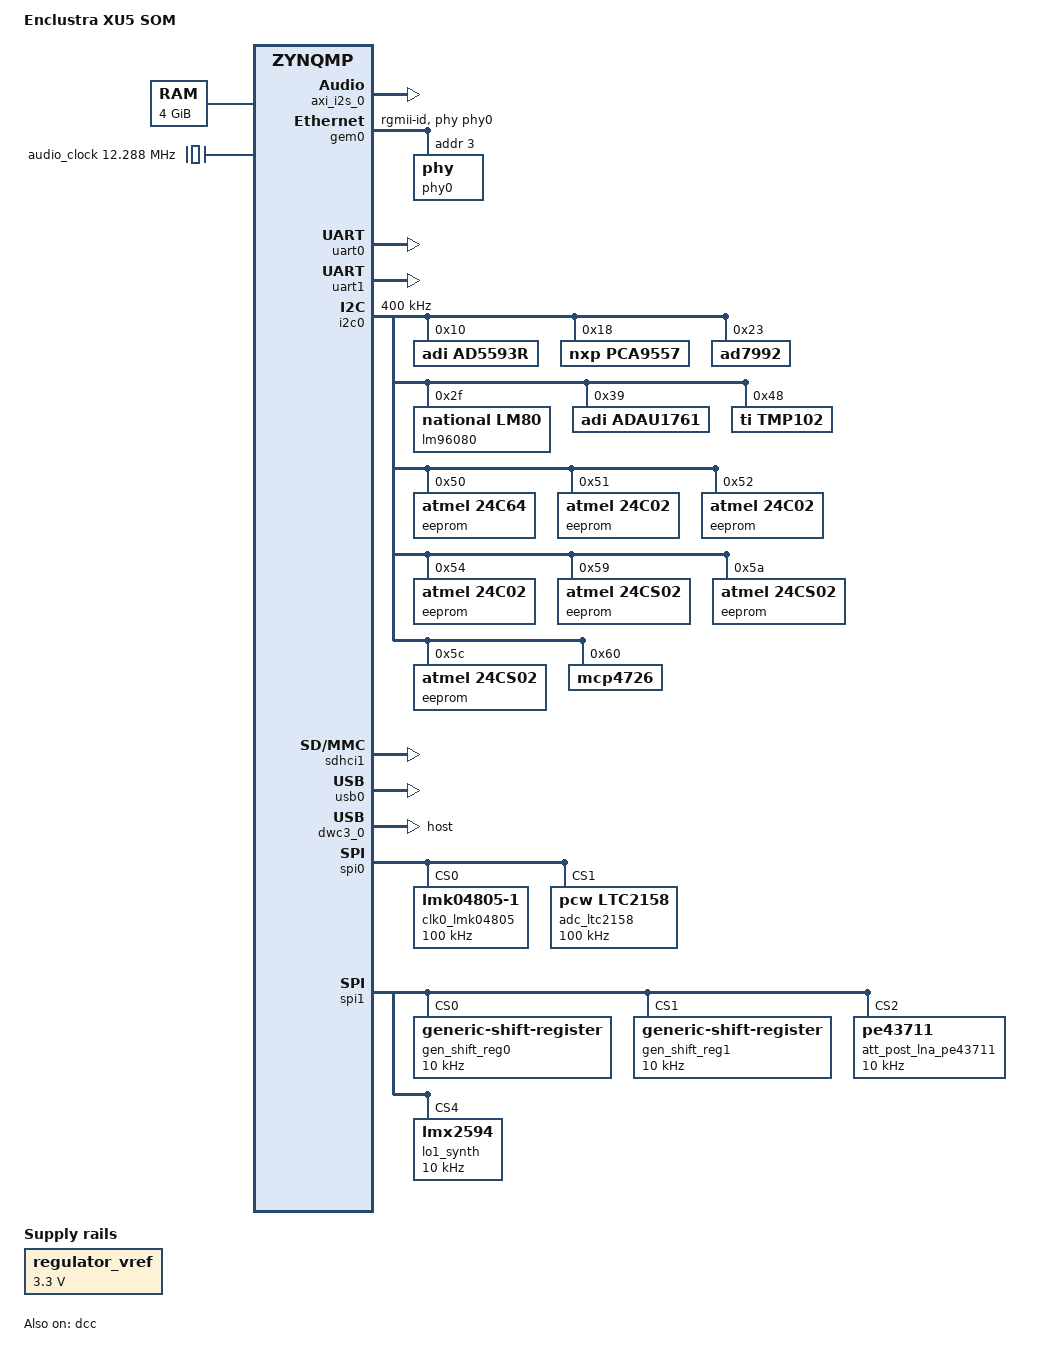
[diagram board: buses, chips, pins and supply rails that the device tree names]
/dts-v1/;

#include "zynqmp.dtsi"
#include "zynqmp-clk-ccf.dtsi"
#include "zynqmp_enclustra_common.dtsi"
#include "zynqmp_enclustra_mercury_xu5.dtsi"
#include "zynq-enclustra-qspi64-parts.dtsi"
#include <dt-bindings/interrupt-controller/irq.h>

/*
 * pg201-zynq-ultrascale-plus-processing-system.pdf (PG201 January 6, 2020), Table 2-1
 * * * * * * * * * * *
 * IRQ PL->PS
 * * * * * * * * * * *
 * 121  pl_ps_irq0[0]
 * 122  pl_ps_irq0[1]
 * 123  pl_ps_irq0[2]
 * 124  pl_ps_irq0[3]
 * 125  pl_ps_irq0[4]
 * 126  pl_ps_irq0[5]
 * 127  pl_ps_irq0[6]
 * 128  pl_ps_irq0[7]
 * * * * * * * * * * *
 * IRQ PS->PL
 * * * * * * * * * * *
 * 137  pl_ps_irq1[0]
 * 138  pl_ps_irq1[1]
 * 139  pl_ps_irq1[2]
 * 140  pl_ps_irq1[3]
 * 141  pl_ps_irq1[4]
 * 142  pl_ps_irq1[5]
 * 143  pl_ps_irq1[6]
 * 144  pl_ps_irq1[7]
 * * * * * * * * * * *
 * The IRQ Number in the devicetree
 * is determined as follows:
 * for pl_ps_irq_0: IRQ_devicetree = IRQ - 32
 * for pl_ps_irq_1: IRQ_devicetree = IRQ - 33
 */

#define USE_GEM0	1
#define USE_GEM1	0
#define ENCLUSTRA	0
#define SPI_ENABLED	1
#define SPI_PINCTRL	0


/ {
	model = "Enclustra XU5 SOM";
	compatible = "xlnx,zynqmp";

	aliases {
#if USE_GEM0
		ethernet0 = &gem0;
#endif
#if USE_GEM1
		ethernet1 = &gem1;
#endif
		gpio0 = &gpio;
		i2c0 = &i2c0;
		mmc0 = &sdhci1;
		mmc1 = &sdhci0;
		rtc0 = &rtc;
		serial0 = &uart0;
		serial1 = &uart1;
		serial2 = &dcc;
#if 0
		spi0 = &spi0;
		spi1 = &spi1;
#else
		spi1 = &spi0;
		spi2 = &spi1;
		spi0 = &qspi;
#endif
		usb0 = &usb0;
		//usb1 = &usb1;
	};

	chosen {
		bootargs = "console=ttyPS0,115200n8 earlycon clk_ignore_unused cpuidle.off=1";
		stdout-path = "serial0:115200n8";
	};

	memory {
		device_type = "memory";
		//reg = <0x0 0x0 0x0 0x80000000>;
		reg = <0x0 0x0 0x0 0x80000000>, <0x8 0x00000000 0x0 0x80000000>;
	};

#if USE_GEM0
#if ENCLUSTRA
	mdio0 {
		compatible = "cdns,macb-mdio";
		reg = <0x0 0xff0b0000 0x0 0x1000>;
		clocks =  <&zynqmp_clk 45>, <&zynqmp_clk 45>, <&zynqmp_clk 49>;
		clock-names = "pclk", "tx_clk", "hclk";
		#address-cells = <1>;
		#size-cells = <0>;
		phy0: ethernet-phy@3 {
			reg = <3>;
			txc-skew-ps = <1800>;
			txen-skew-ps = <420>;
			txd0-skew-ps = <420>;
			txd1-skew-ps = <420>;
			txd2-skew-ps = <420>;
			txd3-skew-ps = <420>;
			rxc-skew-ps = <900>;
			rxdv-skew-ps = <420>;
			rxd0-skew-ps = <420>;
			rxd1-skew-ps = <420>;
			rxd2-skew-ps = <420>;
			rxd3-skew-ps = <420>;
		};
	};
#endif
#endif

#if USE_GEM1
	mdio1 {
		compatible = "cdns,macb-mdio";
		reg = <0x0 0xff0c0000 0x0 0x1000>;
		clocks =  <&zynqmp_clk 45>, <&zynqmp_clk 45>, <&zynqmp_clk 49>;
		clock-names = "pclk", "tx_clk", "hclk";
		#address-cells = <1>;
		#size-cells = <0>;
		phy1: ethernet-phy@3 {
			reg = <3>;
			txc-skew-ps = <1800>;
			txen-skew-ps = <420>;
			txd0-skew-ps = <420>;
			txd1-skew-ps = <420>;
			txd2-skew-ps = <420>;
			txd3-skew-ps = <420>;
			rxc-skew-ps = <1860>;
			rxdv-skew-ps = <420>;
			rxd0-skew-ps = <0>;
			rxd1-skew-ps = <0>;
			rxd2-skew-ps = <0>;
			rxd3-skew-ps = <0>;
		};
	};
#endif

	regulator_vref: fixedregulator@0 {
		compatible = "regulator-fixed";
		regulator-name = "VREF";
		regulator-min-microvolt = <3300000>;
		regulator-max-microvolt = <3300000>;
		regulator-boot-on;
		regulator-always-on;
	};


	audio_clock: audio_clock {
		compatible = "fixed-clock";
		#clock-cells = <0>;
		clock-frequency = <12288000>;
	};

	zed_sound {
		compatible = "simple-audio-card";
		simple-audio-card,name = "ZED ADAU1761";
		simple-audio-card,widgets =
			"Microphone", "Mic In",
			"Headphone", "Headphone Out",
			"Line", "Line In",
			"Line", "Line Out";
		simple-audio-card,routing =
			"Line Out", "LOUT",
			"Line Out", "ROUT",
			"Headphone Out", "LHP",
			"Headphone Out", "RHP",
			"Mic In", "MICBIAS",
			"LINN", "Mic In",
			"RINN", "Mic In",
			"LAUX", "Line In",
			"RAUX", "Line In";

		simple-audio-card,dai-link@0 {
			format = "i2s";
			cpu {
				sound-dai = <&axi_i2s_0>;
				frame-master;
				bitclock-master;
			};
			codec {
				sound-dai = <&adau1761>;
			};
		};
	};
};

&dcc {
	status = "okay";
};

#if USE_GEM0
#if ENCLUSTRA
&gem0 {
	status = "okay";
	local-mac-address = [00 0a 35 00 02 90];
	phy = <&phy0>;
	phy-mode = "rgmii-id";
	phy-handle = <&phy0>;
};
#else
&gem0 {
	status = "okay";
	phy-handle = <&phy0>;
	phy-mode = "rgmii-id";
	phy0: phy@3 {
		reg = <3>;
		txc-skew-ps = <1800>;
		txen-skew-ps = <420>;
		txd0-skew-ps = <420>;
		txd1-skew-ps = <420>;
		txd2-skew-ps = <420>;
		txd3-skew-ps = <420>;
		rxc-skew-ps = <900>;
		rxdv-skew-ps = <420>;
		rxd0-skew-ps = <420>;
		rxd1-skew-ps = <420>;
		rxd2-skew-ps = <420>;
		rxd3-skew-ps = <420>;
	};
};
#endif
#endif

#if USE_GEM1
&gem1 {
	status = "okay";
	local-mac-address = [00 0a 35 00 02 91];
	phy = <&phy1>;
	phy-mode = "gmii-id";
	phy-handle = <&phy1>;
};
#endif

/ {
	fpga_axi: fpga-axi@0 {
		interrupt-parent = <&gic>;
		compatible = "simple-bus";
		#address-cells = <0x1>;
		#size-cells = <0x1>;
		ranges = <0 0 0 0xffffffff>;

		i2s_tx_dma: i2s-tx-dmac@9c510000 {
			compatible = "adi,axi-dmac-1.00.a";
			reg = <0x9c510000 0x10000>;
			#dma-cells = <1>;
			#clock-cells = <0>;
			interrupts = <0 89 IRQ_TYPE_LEVEL_HIGH>; // pl_ps_irq0[0] = 121  ->  121-32 = 89
			clocks = <&zynqmp_clk 71>;

			adi,channels {
				#size-cells = <0>;
				#address-cells = <1>;

				dma-channel@0 {
					reg = <0>;
					adi,source-bus-width = <64>;
					adi,source-bus-type = <0>;
					adi,destination-bus-width = <32>;
					adi,destination-bus-type = <1>;
				};
			};
		};

		i2s_rx_dma: i2s-rx-dmac@9c500000 {
			compatible = "adi,axi-dmac-1.00.a";
			reg = <0x9c500000 0x10000>;
			#dma-cells = <1>;
			#clock-cells = <0>;
			interrupts = <0 90 IRQ_TYPE_LEVEL_HIGH>; // pl_ps_irq0[1] = 122  ->  122-32 = 90
			clocks = <&zynqmp_clk 71>;

			adi,channels {
				#size-cells = <0>;
				#address-cells = <1>;

				dma-channel@0 {
					reg = <0>;
					adi,source-bus-width = <32>;
					adi,source-bus-type = <1>;
					adi,destination-bus-width = <64>;
					adi,destination-bus-type = <0>;
				};
			};
		};

		axi_i2s_0: axi-i2s@0x97600000 {
			compatible = "adi,axi-i2s-1.00.a";
			reg = <0x97600000 0x10000>;
			dmas = <&i2s_tx_dma 0 &i2s_rx_dma 0>;
			dma-names = "tx", "rx";
			clocks = <&zynqmp_clk 71>, <&audio_clock>;
			clock-names = "axi", "ref";

			#sound-dai-cells = <0>;
		};

		rx0_dma: rx0-dma@9c400000 {
			compatible = "adi,axi-dmac-1.00.a";
			reg = <0x9c400000 0x10000>;
			#dma-cells = <1>;
			#clock-cells = <0>;
			interrupts = <0 91 IRQ_TYPE_LEVEL_HIGH>; // pl_ps_irq0[2] = 123  ->  123-32 = 91
			clocks = <&zynqmp_clk 71>;

			adi,channels {
				#address-cells = <1>;
				#size-cells = <0>;

				dma-channel@0 {
					reg = <0>;
					adi,source-bus-width = <32>;
					adi,source-bus-type = <2>;
					adi,destination-bus-width = <64>;
					adi,destination-bus-type = <0>;
				};
			};
		};

		rx1_dma: rx1-dma@9c410000 {
			compatible = "adi,axi-dmac-1.00.a";
			reg = <0x9c410000 0x10000>;
			#dma-cells = <1>;
			#clock-cells = <0>;
			interrupts = <0 92 IRQ_TYPE_LEVEL_HIGH>; // pl_ps_irq0[2] = 123  ->  123-32 = 92
			clocks = <&zynqmp_clk 71>;

			adi,channels {
				#address-cells = <1>;
				#size-cells = <0>;

				dma-channel@0 {
					reg = <0>;
					adi,source-bus-width = <32>;
					adi,source-bus-type = <2>;
					adi,destination-bus-width = <64>;
					adi,destination-bus-type = <0>;
				};
			};
		};

		rx2_dma: rx2-dma@9c420000 {
			compatible = "adi,axi-dmac-1.00.a";
			reg = <0x9c420000 0x10000>;
			#dma-cells = <1>;
			#clock-cells = <0>;
			interrupts = <0 93 IRQ_TYPE_LEVEL_HIGH>; // pl_ps_irq0[2] = 123  ->  123-32 = 93
			clocks = <&zynqmp_clk 71>;

			adi,channels {
				#address-cells = <1>;
				#size-cells = <0>;

				dma-channel@0 {
					reg = <0>;
					adi,source-bus-width = <32>;
					adi,source-bus-type = <2>;
					adi,destination-bus-width = <64>;
					adi,destination-bus-type = <0>;
				};
			};
		};

		rx3_dma: rx3-dma@9c430000 {
			compatible = "adi,axi-dmac-1.00.a";
			reg = <0x9c430000 0x10000>;
			#dma-cells = <1>;
			#clock-cells = <0>;
			interrupts = <0 94 IRQ_TYPE_LEVEL_HIGH>; // pl_ps_irq0[2] = 123  ->  123-32 = 94
			clocks = <&zynqmp_clk 71>;

			adi,channels {
				#address-cells = <1>;
				#size-cells = <0>;

				dma-channel@0 {
					reg = <0>;
					adi,source-bus-width = <32>;
					adi,source-bus-type = <2>;
					adi,destination-bus-width = <64>;
					adi,destination-bus-type = <0>;
				};
			};
		};

		cf_ltc2158_core_0: cf-ddc0-dma@99020000 {
			compatible = "pcw,axi-ltc2158";
			reg = <0x99020000 0x10000>;
			dmas = <&rx0_dma 0>;
			dma-names = "rx";
			spibus-connected = <&adc_ltc2158>;
			xlnx,dphase-timeout = <0x8>;
			xlnx,num-mem = <0x1>;
			xlnx,num-reg = <0x1>;
			xlnx,s-axi-min-size = <0x1ff>;
			xlnx,slv-awidth = <0x20>;
			xlnx,slv-dwidth = <0x20>;
			xlnx,use-wstrb = <0x0>;
		};

		cf_ltc2158_core_1: cf-ddc1-dma@99020000 {
			compatible = "pcw,axi-ltc2158-dummy";
			reg = <0x99020000 0x10000>;
			dmas = <&rx1_dma 0>;
			dma-names = "rx";
			spibus-connected = <&adc_ltc2158>;
			xlnx,dphase-timeout = <0x8>;
			xlnx,num-mem = <0x1>;
			xlnx,num-reg = <0x1>;
			xlnx,s-axi-min-size = <0x1ff>;
			xlnx,slv-awidth = <0x20>;
			xlnx,slv-dwidth = <0x20>;
			xlnx,use-wstrb = <0x0>;
		};

		cf_ltc2158_core_2: cf-ddc2-dma@99020000 {
			compatible = "pcw,axi-ltc2158-dummy";
			reg = <0x99020000 0x10000>;
			dmas = <&rx2_dma 0>;
			dma-names = "rx";
			spibus-connected = <&adc_ltc2158>;
			xlnx,dphase-timeout = <0x8>;
			xlnx,num-mem = <0x1>;
			xlnx,num-reg = <0x1>;
			xlnx,s-axi-min-size = <0x1ff>;
			xlnx,slv-awidth = <0x20>;
			xlnx,slv-dwidth = <0x20>;
			xlnx,use-wstrb = <0x0>;
		};

		cf_ltc2158_core_3: cf-ddc3-dma@99020000 {
			compatible = "pcw,axi-ltc2158-dummy";
			reg = <0x99020000 0x10000>;
			dmas = <&rx3_dma 0>;
			dma-names = "rx";
			spibus-connected = <&adc_ltc2158>;
			xlnx,dphase-timeout = <0x8>;
			xlnx,num-mem = <0x1>;
			xlnx,num-reg = <0x1>;
			xlnx,s-axi-min-size = <0x1ff>;
			xlnx,slv-awidth = <0x20>;
			xlnx,slv-dwidth = <0x20>;
			xlnx,use-wstrb = <0x0>;
		};

		vbi_br_dsp: vbi-br-dsp@93C00000 {
			compatible = "fpga,vbi-br-dsp";
			reg = <0x93C00000 0x10000>;
			required,fs-adc = <276480000>;
			required,nb-of-blocks = <4>;
		};

	};

};

&uart0 {
	status = "okay";
};

&uart1 {
	status = "okay";
};

&i2c0 {
	clock-frequency = <400000>;

	ad5593r@10 {
		#size-cells = <0>;
		#address-cells = <1>;
		#gpio-cells = <2>;
		compatible = "adi,ad5593r";
		reg = <0x10>;
		gpio-controller;

		/*
		 * CH_MODE_UNUSED             0
		 * CH_MODE_ADC                1
		 * CH_MODE_DAC                2
		 * CH_MODE_DAC_AND_ADC        3
		 * CH_MODE_GPIO               8
		 *
		 * CH_OFFSTATE_PULLDOWN       0
		 * CH_OFFSTATE_OUT_LOW        1
		 * CH_OFFSTATE_OUT_HIGH       2
		 * CH_OFFSTATE_OUT_TRISTATE   3
		 */
		channel@0 {
			reg = <0>;
			adi,mode = <0>;        // CH_MODE_UNUSED
			adi,off-state = <0>;   // CH_OFFSTATE_PULLDOWN
		};
		channel@1 {
			reg = <1>;
			adi,mode = <0>;        // CH_MODE_UNUSED
			adi,off-state = <0>;   // CH_OFFSTATE_PULLDOWN
		};
		channel@2 {
			reg = <2>;
			adi,mode = <0>;        // CH_MODE_UNUSED
			adi,off-state = <0>;   // CH_OFFSTATE_PULLDOWN
		};
		channel@3 {
			reg = <3>;
			adi,mode = <1>;        // CH_MODE_ADC
			adi,off-state = <0>;   // CH_OFFSTATE_PULLDOWN
		};
		channel@4 {
			reg = <4>;
			adi,mode = <1>;        // CH_MODE_ADC
			adi,off-state = <0>;   // CH_OFFSTATE_PULLDOWN
		};
		channel@5 {
			reg = <5>;
			adi,mode = <0>;        // CH_MODE_UNUSED
			adi,off-state = <0>;   // CH_OFFSTATE_PULLDOWN
		};
		channel@6 {
			reg = <6>;
			adi,mode = <0>;        // CH_MODE_UNUSED
			adi,off-state = <0>;   // CH_OFFSTATE_PULLDOWN
		};
		channel@7 {
			reg = <7>;
			adi,mode = <0>;        // CH_MODE_UNUSED
			adi,off-state = <0>;   // CH_OFFSTATE_PULLDOWN
		};
	};

	pca9557@18 {
		compatible = "nxp,pca9557";
		reg = <0x18>;
	};

	ad7992: ad799x@23 {
            compatible = "ad7992";
            reg = <0x23>;
            adi,reference-voltage-mv = <3300>;
       };

	lm96080@2f {
		compatible = "national,lm80";
		reg = <0x2f>;
	};

	adau1761: adau1761@39 {
		compatible = "adi,adau1761";
		reg = <0x39>;

		clocks = <&audio_clock>;
		clock-names = "mclk";

		#sound-dai-cells = <0>;
	};

	tmp102@48 {
		compatible = "ti,tmp102";
		reg = <0x48>;
	};

	eeprom@50 { 				// Baseboard EEPROM
		compatible = "atmel,24c64";
		reg = <0x50>;
		pagesize = <32>;
	};

	eeprom@51 { 				// RX Modules Sec. AT24MAC402 EEPROM
		compatible = "atmel,24c02";
		reg = <0x51>;
		pagesize = <16>;
	};

	eeprom@52 {				// TX Modules Sec.AT24MAC402 EEPROM
		compatible = "atmel,24c02";
		reg = <0x52>;
		pagesize = <16>;
	};

	eeprom@54 { 				// Baseboard Sec. AT24MAC402 EEPROM
		compatible = "atmel,24c02";
		reg = <0x54>;
		pagesize = <16>;
	};

	eeprom@59 { 				// RX Modules Sec.AT24MAC402 EEPROM Serial
		compatible = "atmel,24cs02"; //
		reg = <0x59>;
		pagesize = <1>;
		//read-only;
	};

	eeprom@5a {				// TX Modules Sec.AT24MAC402 EEPROM Serial
		compatible = "atmel,24cs02";
		reg = <0x5a>;
		pagesize = <1>;
		//read-only;
	};

	eeprom@5c { 				// Baseboard Sec. AT24MAC402 EEPROM Serial
		compatible = "atmel,24cs02";
		reg = <0x5c>;
		pagesize = <1>;
		//read-only;
	};

	mcp4726@60 {
		compatible = "mcp4726";
		reg = <0x60>;
		//vref-supply = <&regulator_vref>;
		//vref-mv = <3300>;
		vref-mode = <3>;
		vref-millivolt = <3300>;
	};
};

/* SD1 with level shifter */
&sdhci1 {
        status = "okay";
        no-1-8-v;       /* for 1.0 silicon */
        wp-inverted;
        xlnx,mio_bank = <1>;
};

/* ULPI SMSC USB3320 */
&usb0 {
	status = "okay";
};

&usb1 {
        status = "disabled";
};

&dwc3_0 {
        status = "okay";
        dr_mode = "host";
        snps,usb3_lpm_capable;
        maximum-speed = "high-speed";
};

&dwc3_1 {
        status = "disabled";
        dr_mode = "host";
        snps,usb3_lpm_capable;
        maximum-speed = "high-speed";
};

#if SPI_ENABLED
&spi0 {
	is-decoded-cs = <1>;
	num-cs = <8>;
	status = "okay";

#if SPI_PINCTRL
	pinctrl-names = "default";
	pinctrl-0 = <&pinctrl_spi0_default>;
#endif

	clk0_lmk04805: lmk04805@0 {
		#address-cells = <1>;
		#size-cells = <0>;
		#clock-cells = <1>;
		compatible = "lmk04805-1";
		reg = <0>;
		spi-max-frequency = <100000>;
		clock-output-names = "lmk04805-lpc_out0", "lmk04805-lpc_out1", "lmk04805-lpc_out2", "lmk04805-lpc_out3", "lmk04805-lpc_out4", "lmk04805-lpc_out5", "lmk04805-lpc_out6", "lmk04805-lpc_out7", "lmk04805-lpc_out8", "lmk04805-lpc_out9", "lmk04805-lpc_out10", "lmk04805-lpc_out11";
		lmk,vcxo-freq = <122880000>; // VCO = 2211.8MHz
		lmk,en-pll2-ref-2x;
		lmk,pll2-r = <2>;
		lmk,pll2-p = <2>;
		lmk,pll2-n = <9>;

		lmk04805_0_c0:channel@0 {
			reg = <0>;
			lmk,extended-name = "CLK_OUT";
			lmk,out-type = <4>; // 0: power down, 1: lvds, 2: LVPECL 700mV 3: LVPECL 1200mV, 4: LVPECL 1600mV, 5: LVPECL 2000mV, 6: LVCMOS (Norm/Inv), 7: Norm/Norm, 8: ...
			lmk,clock-divider = <56>;
			lmk,powerdown;
		};

		lmk04805_0_c1:channel@1 {
			reg = <1>;
			lmk,extended-name = "CLKout1";
			lmk,clock-divider = <56>;
			lmk,out-type = <0>;
			lmk,powerdown;
		};

		lmk04805_0_c2:channel@2 {
			reg = <2>;
			lmk,extended-name = "CLKout2";
			lmk,clock-divider = <2>;
			lmk,out-type = <0>;
			lmk,powerdown;
		};

		lmk04805_0_c3:channel@3 {
			reg = <3>;
			lmk,extended-name = "DAC_CLK"; // 1105.9MHz
			lmk,out-type = <4>;
			lmk,clock-divider = <2>;
			lmk,powerdown;
		};

		lmk04805_0_c4:channel@4 {
			reg = <4>;
			lmk,extended-name = "TX_CLK";
			lmk,out-type = <4>;
			lmk,clock-divider = <20>;
			lmk,powerdown;
		};

		lmk04805_0_c5:channel@5 {
			reg = <5>;
			lmk,extended-name = "CLKout5";
			lmk,clock-divider = <20>;
			lmk,out-type = <0>;
			lmk,powerdown;
		};

		lmk04805_0_c6:channel@6 {
			reg = <6>;
			lmk,extended-name = "FPGA_MGTCLK";
			lmk,out-type = <1>;
			lmk,clock-divider = <4>;
			lmk,powerdown;
		};

		lmk04805_0_c7:channel@7 {
			reg = <7>;
			lmk,extended-name = "DAC_DCO_CLK";
			lmk,out-type = <1>;
			lmk,clock-divider = <4>;
			lmk,powerdown;
		};

		lmk04805_0_c8:channel@8 {
			reg = <8>;
			lmk,extended-name = "RX_CLK"; // LMX Clk =  1105.92MHz
			lmk,out-type = <4>; // LVPECL 1.6Vpp, 150ohm zu GND müssen auf dem Baseboard rein!
			lmk,clock-divider = <2>;
		};

		lmk04805_0_c9:channel@9 {
			reg = <9>;
			lmk,extended-name = "CLKout9";
			lmk,clock-divider = <2>;
			lmk,out-type = <0>;
			lmk,powerdown;
		};

		lmk04805_0_c10:channel@10 {
			reg = <10>;
			lmk,extended-name = "CLKout10";
			lmk,clock-divider = <8>;
			lmk,out-type = <0>;
			lmk,powerdown;
		};

		lmk04805_0_c11:channel@11 {
			reg = <11>;
			lmk,extended-name = "ADC_CLK"; // 276.48MHz
			lmk,out-type = <4>;
			lmk,clock-divider = <8>;
		};
	};

	adc_ltc2158: adc-ltc2158@1 {
		#address-cells = <1>;
		#size-cells = <0>;
		compatible = "pcw,ltc2158";
		reg = <1>;
		spi-max-frequency = <100000>;
//		spi-3wire;
		clock_inverted;
		//en-randomizer;
		clocks = <&clk0_lmk04805 11>;
		clock-names = "clkin";
	};
};

&spi1 {
	is-decoded-cs = <1>;
	num-cs = <8>;
	status = "okay";

	gen_shift_reg0: generic_shift_register@0 {
		#address-cells = <1>;
		#size-cells = <0>;
		compatible = "generic-shift-register";
		reg = <0>;
		spi-max-frequency = <10000>;
		optional,device-name = "BR-DB-Control-Register";
		optional,num-bits = <11>;
		optional,name-bit0 = "PRE_FILTER_SEL0";
		optional,name-bit1 = "PRE_FILTER_SEL1";
		optional,name-bit2 = "POST_FILTER_SEL0";
		optional,name-bit3 = "POST_FILTER_SEL1";
		optional,name-bit4 = "LF_PRE_LNA_EN";
		optional,name-bit5 = "";  // Rev B, this will omit that bit
		//optional,name-bit5 = "HF_PRE_LNA_EN"; // rev A
		optional,name-bit6 = "EN_LF_PATH";
		optional,name-bit7 = "LF_SEL_0_HFIN_TO_HF_1_HFIN_TO_LF";
		optional,name-bit8 = "PRE_ATT0"; // rev B
		optional,name-bit9 = "PRE_ATT1"; // rev B
		optional,name-bit10 = "RST_PSAT_FLAG"; // rev B
	};

	gen_shift_reg1: generic_shift_register@1 {
		#address-cells = <1>;
		#size-cells = <0>;
		compatible = "generic-shift-register";
		reg = <1>;
		spi-max-frequency = <10000>;
		optional,device-name = "Tunable-BPF";
		optional,num-bits = <8>;
		optional,name-bit0 = "D0";
		optional,name-bit1 = "D1";
		optional,name-bit2 = "D2";
		optional,name-bit3 = "D3";
		optional,name-bit4 = "D4";
		optional,name-bit5 = "DISABLE";
		optional,name-bit6 = "";  // this will omit that bit
		optional,name-bit7 = "";  // this will omit that bit
	};


	att_post_lna_pe43711: pe43711@2 {
		#address-cells = <1>;
		#size-cells = <0>;
		compatible = "pe43711";
		reg = <2>;
		spi-max-frequency = <10000>;
		optional,unique-id = "att_post_lna_pe43711";	// without this, the device will be named after the "compatible" entry (pe43711)
	};

// not on RevB
//	att_pre_mixer_pe43711: pe43711@3 {
//		#address-cells = <1>;
//		#size-cells = <0>;
//		compatible = "pe43711";
//		reg = <3>;
//		spi-max-frequency = <10000>;
//		optional,unique-id = "att_pre_mixer_pe43711";	// without this, the device will be named after the "compatible" entry (pe43711)
//	};


	lo1_synth: lmx2594@4 {
		#address-cells = <1>;
		#size-cells = <0>;
		compatible = "lmx2594";
		reg = <4>;
		spi-max-frequency = <10000>;
		optional,unique-id = "lmx2594_lo1_synth";
		optional,output-frequency-hz = /bits/ 64 <1>;
		optional,vco-frequency-hz = /bits/ 64 <2>;
		optional,output-enable = <3>;
		optional,mode = <4>;
		optional,aux-output-divider = <5>;
		optional,aux-output-enable = <6>;
	};
 };

#endif
